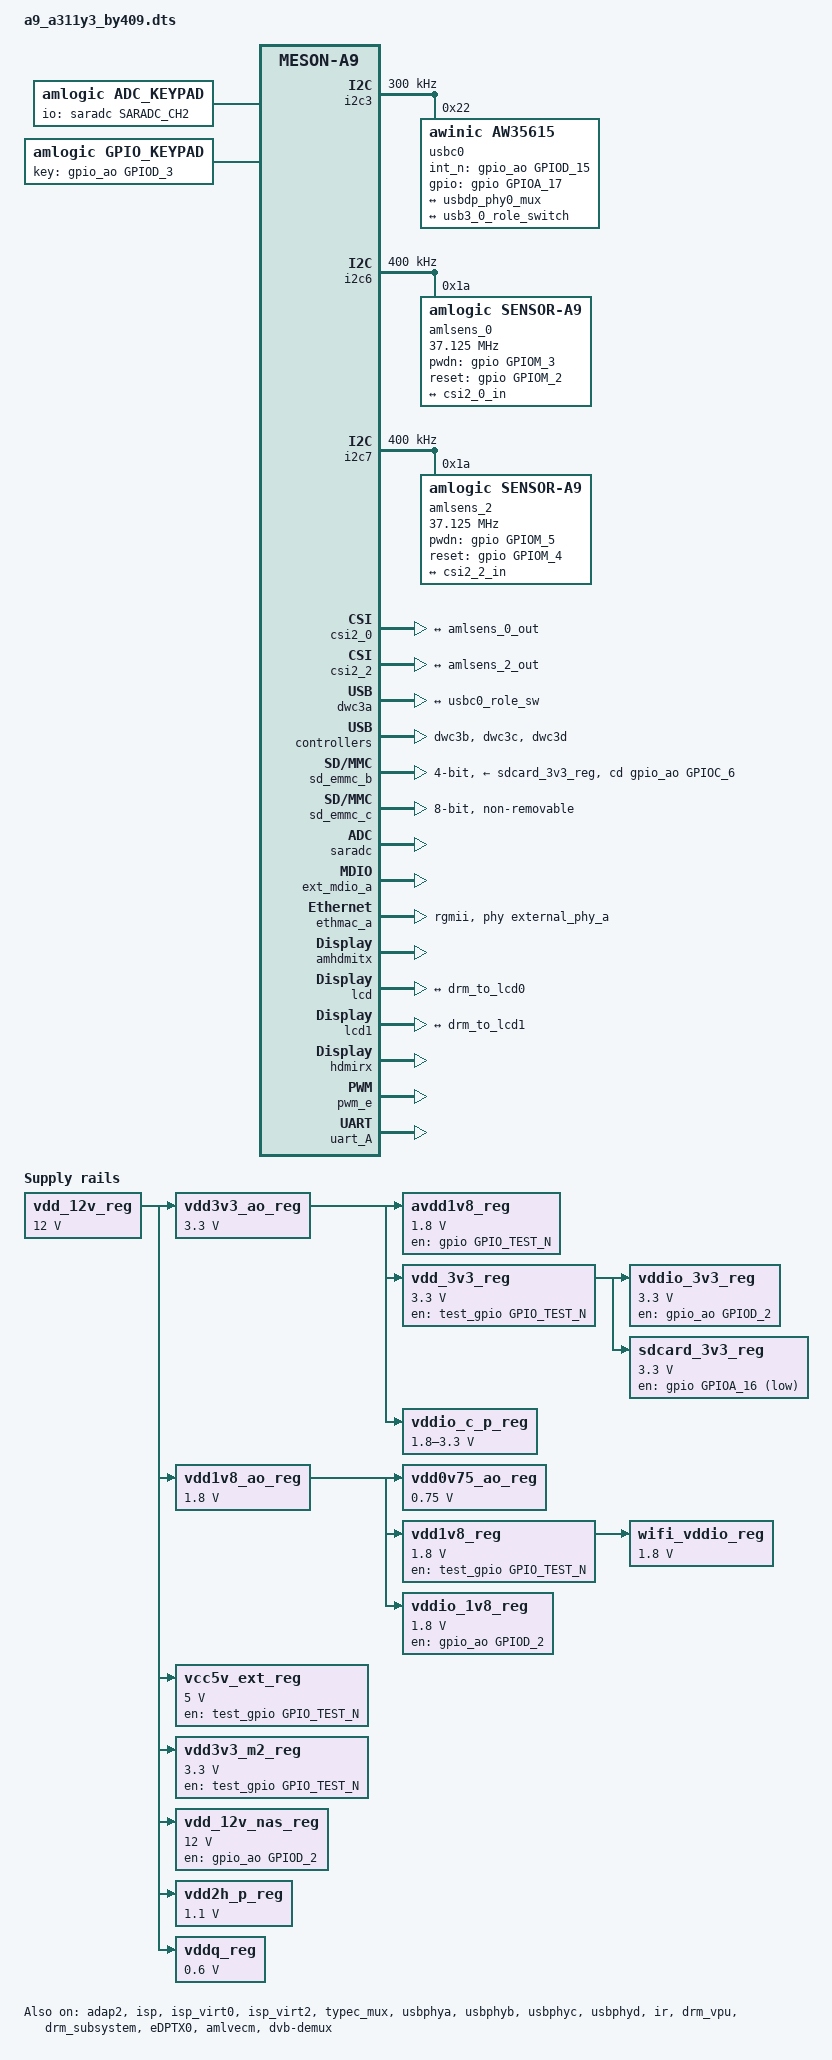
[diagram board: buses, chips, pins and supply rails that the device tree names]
// SPDX-License-Identifier: (GPL-2.0+ OR MIT)
/*
 * Copyright (c) 2019 Amlogic, Inc. All rights reserved.
 */

/dts-v1/;

#include "meson-a9.dtsi"
#include "mesona9-panel.dtsi"
//#include "hdr10plus.dtsi"
#include "mesona9_drm_dual.dtsi"
#include "mesona9_audio.dtsi"
#include "firmware_ab.dtsi"
/ {
	amlogic-dt-id = "a9_a311y3_by409";
	compatible = "a9_a311y3_by409";
	interrupt-parent = <&gic>;
	#address-cells = <2>;
	#size-cells = <2>;

	aliases {
		serial0 = &uart_AO_B;
		serial1 = &uart_A;
		serial2 = &uart_AO_C;
		serial3 = &uart_AO_D;
		serial4 = &uart_AO_E;
		serial5 = &uart_F;
		i2c0 = &i2c0;
		i2c1 = &i2c1;
		i2c2 = &i2c2;
		i2c3 = &i2c3;
		i2c4 = &i2c4;
		i2c5 = &i2c5;
		i2c6 = &i2c6;
		i2c7 = &i2c7;
		i2c8 = &i2c8;
		spi0 = &spifc;
		spi1 = &spisg_c;
		spi2 = &spisg_e;
		spi3 = &spisg_f;
		i3c0 = &i3c0;
		i3c1 = &i3c1;
		tsensor0 = &a55_tsensor;
		tsensor1 = &c_tsensor;
		tsensor2 = &p_tsensor;
		tsensor3 = &dos_tsensor;
		ethernet0 = &ethmac_a;
		ethernet1 = &ethmac_b;
	};

	memory@0 {
		device_type = "memory";
		linux,usable-memory = <0x0 0x000000 0x0 0xe0000000
				       0x1 0x000000 0x1 0x20000000>;
	};

	reserved-memory {
		#address-cells = <2>;
		#size-cells = <2>;
		ranges;

		ramdump_bl33z@0 {
			reg = <0x0 0x0 0x0 0x1800000>; /* 0 ~ 24M */
			status = "disabled";
		};

		/* global autoconfigured region for contiguous allocations */
		ramoops@6b00000 {
			compatible = "ramoops";
			reg = <0x0 0x06b00000 0x0 0x00080000>;/* addr set in uboot */
			record-size = <0x30000>;
			console-size = <0x40000>;
			ftrace-size = <0x0>;
			pmsg-size = <0x10000>;
		};

		debug_reserved:linux,iotrace {
			compatible = "amlogic, iotrace";
			reg = <0x0 0x04f00000 0x0 0x00100000>;
			io-size = <0x1b000>;
			sched-size = <0x2000>;
			irq-size = <0x1000>;
			smc-size = <0x1000>;
			misc-size = <0x1000>;
		};

		dmc_reserved:linux,dmc_monitor {
			compatible = "amlogic,dmc_monitor-reserved";
			reg = <0x0 0x0 0x0 0x80000>;
		};

		secmon_reserved:linux,secmon {
			compatible = "shared-dma-pool";
			/*reusable;*/
			no-map;
			alignment = <0x0 0x100000>;
			reg = <0x0 0x05000000 0x0 0x1b00000>;
		};

		logo_reserved:linux,meson-fb {
			compatible = "amlogic, meson-fb";
			alignment = <0x0 0x400000>;
			reg = <0x0 0x7f800000 0x0 0x800000>;
		};

		lcd_cma_reserved:linux,lcd-reserved {
			compatible = "amlogic, lcd_rsvd";
			reg = <0x0 0x40000000 0x0 0x00a80000>;
			tcon-size = <0x00202840>;
		};

		dsp_fw_reserved:linux,dsp_fw {
			compatible = "amlogic, dsp";
			size = <0x0 0x800000>;
			reg = <0x0 0x30000000 0x0 0x800000>;
		};

		ion_cma_reserved:linux,ion-dev {
			compatible = "shared-dma-pool";
			reusable;
			size = <0x0>;
			alignment = <0x0 0x400000>;
		};
		ion_fb_reserved:linux,ion-fb {
			compatible = "shared-dma-pool";
			reusable;
			size = <0x0 0x0>;
			alignment = <0x0 0x400000>;
		};
		dmaheap_cma_reserved:heap-gfx {
			compatible = "shared-dma-pool";
			reusable;
			/* 1080p STB android16 size 88M */
			size = <0x0 0x0>;
			alignment = <0x0 0x400000>;
		};
		dmaheap_fb_reserved:heap-fb {
			compatible = "shared-dma-pool";
			reusable;
			/* android16 mian 4K secondary 1080p, total size 164M */
			size = <0x0 0xa400000>;
			alignment = <0x0 0x400000>;
		};
		dmaheap_secure_reserved:heap-secure {
			compatible = "amlogic, heap-secure-mem";
			no-map;
			/* advice heap-secure size 208M */
			size = <0x0 0x0>;
			alignment = <0x0 0x400000>;
		};
		mali_protected: mali_protected@c0000000 {
			compatible = "mali-reserved";
			no-map;
			/* 16M with high version than valhall-r41p0,
			 * 64M with low version than valhall-r41p0
			 */
			size = <0x0 0x0>;
			alignment = <0x0 0x400000>;
		};
		/*di CMA pool */
		di_cma_reserved:linux,di_cma {
			compatible = "shared-dma-pool";
			reusable;
			/* buffer_size = 3621952(yuv422 8bit)
			 *  | 4736064(yuv422 10bit)
			 *  | 4074560(yuv422 10bit full pack mode)
			 * 10x3621952=34.6M(0x23) support 8bit
			 * 10x4736064=45.2M(0x2e) support 12bit
			 * 10x4074560=40M(0x28) support 10bit
			 */
			//size = <0x0 0x0B000000>;
			//size = <0x0 0x0>;
			alignment = <0x0 0x400000>;
		};

		/*  POST PROCESS MANAGER */
		ppmgr_reserved:linux,ppmgr {
			compatible = "shared-dma-pool";
			size = <0x0 0x0>;
		};

		codec_mm_cma:linux,codec_mm_cma {
			compatible = "shared-dma-pool";
			reusable;
			/*
			 * Scenario: CTS P010 case
			 * Total size: 548M
			 * Note:
			 *  setting to 496M if scatter_alloc_mode is 0.
			 *  setting to 444M if scatter_alloc_mode is 1.
			 */
			size = <0x0 0x1bc00000>;
			alignment = <0x0 0x400000>;
			alloc-ranges = <0x1 0x0 0x0 0xe0000000>;
			linux,contiguous-region;
		};

		/* codec shared reserved */
		codec_mm_reserved:linux,codec_mm_reserved {
			compatible = "amlogic, codec-mm-reserved";
			size = <0x0 0x0>;
			alignment = <0x0 0x100000>;
			//no-map;
		};

		codec_mm_reserved_ext:linux,codec_mm_reserved_ext {
			compatible = "amlogic, codec-mm-reserved_ext";
			size = <0x00000000 0x00000000>;
			alignment = <0x0 0x100000>;
			alloc-ranges = <0x0 0x0 0x0 0xe0000000>;
		};

		secure_vdec_reserved:linux,secure_vdec_reserved {
			compatible = "amlogic, secure-vdec-reserved";
			no-map;
			size = <0x0 0x1800000>;
			alignment = <0x0 0x100000>;
			alloc-ranges = <0x0 0x0 0x0 0xe0000000>;
		};

		/*  vdin0 CMA pool */
		//vdin0_cma_reserved:linux,vdin0_cma {
		//	compatible = "shared-dma-pool";
		//	reusable;
			/* up to 1920x1080 yuv422 8bit and 5 buffers
			 * 1920x1080x2x5 = 20 M
			 */
		//	size = <0x0 0x01400000>;
		//	alignment = <0x0 0x400000>;
		//};
		/*  vdin1 CMA pool */
		vdin1_cma_reserved:linux,vdin1_cma {
			compatible = "shared-dma-pool";
			reusable;
			/* up to 720p yuv420 8bit and 4 buffers
			 * 1280x720x1.5x4 = 8 M
			 */
			size = <0x0 0x00800000>;
			alignment = <0x0 0x400000>;
		};

		/*  amlvideo2_1 CMA pool */
		amlvideo2_1_cma_reserved:linux,amlvideo2_1_cma {
			compatible = "shared-dma-pool";
			reusable;
			/* 3840x2160 yuv420 8bit and 4 buffers
			 * 3840x2160x1.5x4 = 48 M
			 */
			size = <0x0 0x3000000>;
			alignment = <0x0 0x400000>;
			alloc-ranges = <0x0 0x0 0x0 0xe0000000>;
		};

		/* global autoconfigured region for contiguous allocations */
		linux,cma {
			compatible = "shared-dma-pool";
			reusable;
			size = <0x0 0x800000>;
			alignment = <0x0 0x400000>;
			linux,cma-default;
			alloc-ranges = <0x0 0x0 0x0 0xe0000000>;
		};

		pcie_dma_ops_mm:linux,pcie_dma_ops {
			compatible = "shared-dma-pool";
			status = "okay";
			reusable;
			size = <0x0 0x2000000>;
			swiotlb-size = <0x0 0x1c00000>;
			atomic-size = <0x0 0x40000>;
			alignment = <0x0 0x400000>;
			alloc-ranges = <0x0 0x0 0x0 0xe0000000>;
		};
		isp_reserved:linux,isp {
			compatible = "shared-dma-pool";
			reusable;
			size = <0x0 0xa000000>;
			alignment = <0x0 0x400000>;
			alloc-ranges = <0x0 0x0 0x0 0xe0000000>;
		};
	};

/* Audio Related start */
	auge_sound {
		compatible = "amlogic, auge-sound-card";
		aml-audio-card,name = "AML-AUGESOUND";

	//	avout_mute-gpios = <&gpio GPIOD_6 GPIO_ACTIVE_HIGH>;
	//	av_mute_sleep_time = <600>;
		/* spk_mute-gpios = <&gpio GPIOD_9 GPIO_ACTIVE_LOW>;*/
	//	spk_mute_sleep_time = <800>;

		/* headphone insert det */
	//	hp-det-gpios = <&gpio_analog CDAC_IOUT GPIO_ACTIVE_HIGH>;

	//	interrupts = <GIC_SPI 149 IRQ_TYPE_EDGE_RISING>;
	//	interrupt-names = "audio_exception64";

		aml-audio-card,dai-link@0 {
			format = "dsp_b";
			mclk-fs = <512>;
			//continuous-clock;
			//bitclock-inversion;
			//frame-inversion;
			/* master mode */
			bitclock-master = <&tdma>;
			frame-master = <&tdma>;
			/* slave mode */
			/*
			 * bitclock-master = <&tdmacodec>;
			 * frame-master = <&tdmacodec>;
			 */
			/* suffix-name, sync with android audio hal used for */
			suffix-name = "alsaPORT-pcm";
			tdmacpu: cpu {
				sound-dai = <&tdma>;
				dai-tdm-slot-tx-mask =
							<1 1>;
				dai-tdm-slot-rx-mask =
							<1 1>;
				dai-tdm-slot-num = <2>;
				dai-tdm-slot-width = <16>;
				system-clock-frequency = <256000>;
			};
			tdmacodec: codec {
				sound-dai = <&dummy_codec>;
			};
		};

		aml-audio-card,dai-link@1 {
			format = "i2s";
			mclk-fs = <256>;
			continuous-clock;
			//bitclock-inversion;
			//frame-inversion;
			/* master mode */
			bitclock-master = <&tdmb>;
			frame-master = <&tdmb>;
			/* slave mode */
			//bitclock-master = <&tdmbcodec>;
			//frame-master = <&tdmbcodec>;
			/* suffix-name, sync with android audio hal used for */
			suffix-name = "alsaPORT-i2s-i2s4hdmirx";
			cpu {
				sound-dai = <&tdmb>;
				dai-tdm-slot-tx-mask = <1 1>;
				dai-tdm-slot-rx-mask = <1 1>;
				dai-tdm-slot-num = <2>;
				dai-tdm-slot-width = <32>;
				system-clock-frequency = <12288000>;
			};
			tdmbcodec: codec {
				sound-dai = <&dummy_codec>;
			};
		};

		aml-audio-card,dai-link@2 {
			format = "i2s";
			mclk-fs = <256>;
			//continuous-clock;
			//bitclock-inversion;
			//frame-inversion;
			/* master mode */
			bitclock-master = <&tdmc>;
			frame-master = <&tdmc>;
			/* slave mode */
			//bitclock-master = <&tdmccodec>;
			//frame-master = <&tdmccodec>;
			/* suffix-name, sync with android audio hal used for */
			suffix-name = "alsaPORT-i2s4parser";
			cpu {
				sound-dai = <&tdmc>;
				dai-tdm-slot-tx-mask = <1 1>;
				dai-tdm-slot-rx-mask = <1 1>;
				dai-tdm-slot-num = <2>;
				dai-tdm-slot-width = <32>;
				system-clock-frequency = <12288000>;
			};
			tdmccodec: codec {
				sound-dai = <&dummy_codec>;
			};
		};

		aml-audio-card,dai-link@3 {
			mclk-fs = <64>;
			/* suffix-name, sync with android audio hal used for */
			suffix-name = "alsaPORT-pdm-builtinmic";
			cpu {
				sound-dai = <&pdma>;
			};
			codec {
				sound-dai = <&dummy_codec>;
			};
		};

		aml-audio-card,dai-link@4 {
			mclk-fs = <128>;
			continuous-clock;
			/* suffix-name, sync with android audio hal used for */
			suffix-name = "alsaPORT-spdif";
			cpu {
				sound-dai = <&spdifa>;
				system-clock-frequency = <6144000>;
			};
			codec {
				sound-dai = <&dummy_codec>;
			};
		};

		aml-audio-card,dai-link@5 {
			mclk-fs = <256>;
			continuous-clock;
			suffix-name = "alsaPORT-loopback";
			cpu {
				sound-dai = <&loopbacka>;
				system-clock-frequency = <12288000>;
			};
			codec {
				sound-dai = <&dummy_codec>;
			};
		};

		aml-audio-card,dai-link@6 {
			mclk-fs = <256>;
			continuous-clock;
			suffix-name = "alsaPORT-mixer";
			cpu {
				sound-dai = <&mixer>;
				system-clock-frequency = <12288000>;
			};
			codec {
				sound-dai = <&dummy_codec>;
			};
		};

		aml-audio-card,dai-link@7 {
			mclk-fs = <256>;
			suffix-name = "alsaPORT-Sed";
			cpu {
				sound-dai = <&sed>;
			};
			codec {
				sound-dai = <&dummy_codec>;
			};
		};
	};
	/* Audio Related end */

	dvb-extern {
		compatible = "amlogic, dvb-extern";
		dev_name = "dvb-extern";
		status = "disabled";

		/* dvb hardware main power. */
		dvb_power_gpio = <&gpio GPIOZ_5 GPIO_ACTIVE_HIGH>;
		dvb_power_value = <1>;
		dvb_power_dir = <0>; /* 0: out, 1: in. */

		fe_num = <4>; /* internal 2 * dvb-c, extern 1 * dvb-s */
		fe0_demod = "internal";
		fe0_tuner0 = <0>; /* use tuner0 */

		fe1_demod = "internal";
		fe1_tuner0 = <1>; /* use tuner1 */

		fe2_demod = "cxd2856";
		fe2_i2c_adap_id = <&i2c4>;
		fe2_demod_i2c_addr = <0xD8>;
		fe2_reset_value = <0>;
		fe2_reset_gpio = <&gpio GPIOZ_4 GPIO_ACTIVE_HIGH>;
		fe2_reset_dir = <0>; /* 0: out, 1: in. */
		fe2_ant_poweron_value = <0>;
		//fe2_ant_power_gpio = <&gpio GPIOH_9 GPIO_ACTIVE_HIGH>;
		fe2_ts = <0>;
		fe2_tuner1 = <3>; /* use tuner3, only S. */

		fe3_demod = "dummy";
		fe3_ts = <3>;

		tuner_num = <4>; /* tuner number, multi tuner support */
		tuner0_name = "r836_tuner";
		tuner0_i2c_adap = <&i2c3>;
		tuner0_i2c_addr = <0x1a>; /* 7bit */
		tuner0_xtal = <0>; /* 0: 16MHz, 1: 24MHz */
		tuner0_xtal_mode = <0>;
					/* NO_SHARE_XTAL(0)
					 * SLAVE_XTAL_SHARE(3)
					 */
		tuner0_xtal_cap = <16>;
		tuner0_lt_out = <1>;

		tuner1_name = "r836_tuner";
		tuner1_i2c_adap = <&i2c3>;
		tuner1_i2c_addr = <0x3a>; /* 7bit */
		tuner1_xtal = <0>; /* 0: 16MHz, 1: 24MHz */
		tuner1_xtal_mode = <0>;
					/* NO_SHARE_XTAL(0)
					 * SLAVE_XTAL_SHARE(3)
					 */
		tuner1_xtal_cap = <16>;
		tuner1_lt_out = <1>;

		tuner2_name = "av2018_tuner";
		tuner2_i2c_adap = <&i2c3>;
		tuner2_i2c_addr = <0xC4>; /* 8bit */
		tuner2_lt_out = <1>;

		tuner3_name = "av2018_tuner";
		tuner3_lt_out = <1>;
	};

	dvb-demux {
		compatible = "amlogic sc2, dvb-demux";
		dev_name = "dvb-demux";
		status = "okay";

		reg = <0x0 0xfe000000 0x0 0x480000>;

		dmxdev_num = <0x11>;

		tsn_from = "demod";

		/*single demod setting */
		ts0_sid = <0x10>;
		ts0 = "serial-4wire"; /* tsinA: serial-4wire, serial-3wire */
		ts0_control = <0x0>;
		ts0_invert = <0>;

		ts1_sid = <0x11>;
		ts1 = "parallel";
		ts1_control = <0x0>;
		ts1_invert = <0>;

		ts2_sid = <0x12>;
		ts2 = "parallel";
		ts2_control = <0x0>;
		ts2_invert = <0>;

		ts3_sid = <0x7>;

	};

	multi-di {
		compatible = "amlogic, dim-a9";
		/* s6 same as s7d */
		status = "okay";
		/* 0:use reserved; 1:use cma; 2:use cma as reserved */
		flag_cma = <4>;	//<1>;
		//memory-region = <&di_reserved>;
		//memory-region = <&di_cma_reserved>;
		interrupts = <0 203 1
				0 202 1>;
		interrupt-names = "pre_irq", "post_irq";
		clocks = <&clkc_vpu_clkb CLKID_VPU_CLKB>,
			 <&clkc_vpu>;
		clock-names = "vpu_clkb",
			"vpu_mux";
		clock-range = <334 400>;
		/* buffer-size = <3621952>;(yuv422 8bit) */
		buffer-size = <4074560>;/*yuv422 fullpack*/
		/* reserve-iomap = "true"; */
		/* if enable nr10bit, set nr10bit-support to 1 */
		post-wr-support = <1>;
		nr10bit-support = <1>;
		nrds-enable = <1>;
		pps-enable = <1>;
		en_4k = <0>;
		keep_dec_vf = <0>;
		po_fmt = <0>;
		post_nub = <11>;
		alloc_sct = <0>;
		hf = <0>;
		dct = <0>;
		sub_v = <0>;//sub version
		afbce_loss_en = <0>;//t5w loss mode enable for DI output
		prelink_en = <1>;
		ponly_mode = <1>;
		t5db_afbcd_en = <1>;
		postlink_en = <0>;
		/***************************************************
		 * t5w t3 support 4k ,same with t7 ,no canvas,
		 * post_nub---default is 11
		 *            (T7/T3/SC2/S4 new path)
		 *            post 11*5222400 = 56M,local 7*4075520 = 28m
		 * flag_cma---0: use reserved; 1:use cma;
		 *            2:use cma as reserved 4:use codec mem
		 * en_4k :en_4k---0: not support 4K;  1: enable 4K
		 *                2: dynamic: vdin: 4k enable,
		 *                   other source 4k disable
		 *                8: when 4k,
		 *                   output with a resolution is below 1080p
		 * keep_dec_vf---0:not keep; 1: keep dec vf for p;
		 *               2: dynamic keep dec vf for p,other is disable
		 * po_fmt---1: NV21/8;  2: nv12/8;  3: AFBC 422/10BIT;
		 *          4: dynamic(4K AFBC,10/422);
		 *          6: dynamic(from decoder 4K source,
		 *             out is AFBC,10/420),
		 *             other is 422/10BIT
		 * bypass_mem---0:nr not bypass; 1: nr bypass;
		 *              2: when 4k input ,nr is bypass;
		 *              3: bypass nr for 4k,but not from vdin;
		 * alloc_sct---0:not support; bit 0: for 4k; bit 1: for 1080p
		 * hf---0:not enable; 1: enable
		 * dct---0:not enable; 1: enable 1 ch; 2: enable 2 ch
		 * sub_v---0:major; 1: sub
		 * afbce_loss_en---1:check the loss flag in vf and set for di,0:disable
		 ***************************************************/
	};

	aml_dtv_demod {
		compatible = "amlogic, ddemod-s4";
		dev_name = "aml_dtv_demod";
		status = "disabled";
		/* diseqc_name = "sgm_41286"; */
		pinctrl-names="if_agc_pins", "if_agc2_pins";
		pinctrl-0=<&dtvdemod_if_agc_pins>;
		pinctrl-1=<&dtvdemod_if_agc2_pins>;
		/* pinctrl-2=<&diseqc_out>; */
		/* lnb_en-gpios = <&gpio GPIOZ_2 GPIO_ACTIVE_HIGH>; */
		/* lnb_sel-gpios = <&gpio GPIOZ_3 GPIO_ACTIVE_HIGH>; */
		/* interrupts = <GIC_SPI 142 IRQ_TYPE_EDGE_RISING>; */
		/* interrupt-names = "demod_isr"; */

		//power-domains = <&pwrdm PDID_S4_DEMOD>;
		/* clocks = <&clkc CLKID_DAC_CLK>; */
		/* clock-names = "vdac_clk_gate"; */

		reg = <0x0 0xfe350000 0x0 0x10000	/* dtv demod base */
			   0x0 0xfe000000 0x0 0x2000	/* div base */
			   0x0 0xff800000 0x0 0x1000	/* io_aobus_base */
			   0x0 0xffd01000 0x0 0x1000	/* reset */
			>;

		spectrum = <1>;
		cma_mem_size = <0>; //MB
	};

	adc_keypad {
		compatible = "amlogic, adc_keypad";
		status = "okay";
		key_name = "update", "vol-", "vol+", "ok";
		key_num = <4>;
		io-channels = <&saradc SARADC_CH2>;
		io-channel-names = "key-chan-2";
		key_chan = <SARADC_CH2 SARADC_CH2 SARADC_CH2 SARADC_CH2>;
		key_code = <KEY_SETUP KEY_VOLUMEDOWN KEY_VOLUMEUP KEY_ENTER>;
		key_val = <0 252 468 684>;	// Unit: millivolt
		key_tolerance = <70 70 70 70>;	// Unit: millivolt
	};

	gpio_keypad {
		compatible = "amlogic, gpio_keypad";
		status = "okay";
		scan_period = <20>;
		key_num = <1>;
		key_name = "power";
		key_code = <KEY_POWER>;
		key_type = <EV_KEY>;
		key-gpios = <&gpio_ao GPIOD_3 GPIO_ACTIVE_HIGH>;
		/* 0:polling mode, 1:irq mode */
		detect_mode = <0>;
	};

	vdd_12v_reg: fixed@vdd_12v_reg {
		compatible = "regulator-fixed";
		regulator-name = "VDD_12V";
		regulator-min-microvolt = <12000000>;
		regulator-max-microvolt = <12000000>;
		regulator-boot-on;
		regulator-always-on;
	};

	vdd3v3_ao_reg: fixed@vdd3v3_ao_reg {
		vin-supply = <&vdd_12v_reg>;
		compatible = "regulator-fixed";
		regulator-name = "VDDAO_3V3";
		regulator-min-microvolt = <3300000>;
		regulator-max-microvolt = <3300000>;
		regulator-boot-on;
		regulator-always-on;
	};

	vdd1v8_ao_reg: fixed@vdd1v8_ao_reg {
		vin-supply = <&vdd_12v_reg>;
		compatible = "regulator-fixed";
		regulator-name = "VDD1V8_AO";
		regulator-min-microvolt = <1800000>;
		regulator-max-microvolt = <1800000>;
		regulator-boot-on;
		regulator-always-on;
	};

	vdd0v75_ao_reg: fixed@vdd0v75_ao_reg {
		vin-supply = <&vdd1v8_ao_reg>;
		compatible = "regulator-fixed";
		regulator-name = "VDD0V75_AO";
		regulator-min-microvolt = <750000>;
		regulator-max-microvolt = <750000>;
		regulator-boot-on;
		regulator-always-on;
	};

	vddgpu: pwm_g-regulator {
		compatible = "amlogic, pwm-regulator";
		//pwms = <&pwm_g MESON_PWM_0 630 0>;		//default pwm_e, pwm_g nc
		pwms = <&pwm_g MESON_PWM_0 630 0>;
		regulator-name = "vddgpu";
		regulator-min-microvolt = <680000>;
		regulator-max-microvolt = <830000>;
		regulator-always-on;
		max-duty-cycle = <630>;
		amlogic,vsel-step = <3>;
		amlogic,usleep-time = <200>;
		amlogic,udelay-time = <40 20>;
		/* Voltage Duty-Cycle */
		voltage-table = <830000 0>,
				<820000 7>,
				<810000 13>,
				<800000 20>,
				<790000 27>,
				<780000 33>,
				<770000 40>,
				<760000 47>,
				<750000 53>,
				<740000 60>,
				<730000 67>,
				<720000 73>,
				<710000 80>,
				<700000 87>,
				<690000 93>,
				<680000 100>;
		status = "disabled";
	};

	avdd1v8_reg: fixed@avdd1v8_reg {
		vin-supply = <&vdd3v3_ao_reg>;
		compatible = "regulator-fixed";
		regulator-name = "AVDD1V8";
		regulator-min-microvolt = <1800000>;
		regulator-max-microvolt = <1800000>;
		pinctrl-names = "default";
		gpio = <&gpio GPIO_TEST_N GPIO_ACTIVE_HIGH>;
		enable-active-high;
		startup-delay-us = <7000>;
		regulator-boot-on;
		regulator-always-on;
	};

	vcc5v_ext_reg: fixed@vcc5v_ext_reg {
		vin-supply = <&vdd_12v_reg>;
		compatible = "regulator-fixed";
		regulator-name = "VCC5V_EXT";
		regulator-min-microvolt = <5000000>;
		regulator-max-microvolt = <5000000>;
		pinctrl-names = "default";
		gpio = <&test_gpio GPIO_TEST_N GPIO_ACTIVE_HIGH>;
		enable-active-high;
		startup-delay-us = <7000>;
		regulator-boot-on;
		regulator-always-on;
	};

	vdd_3v3_reg: fixed@vdd_3v3_reg {
		vin-supply = <&vdd3v3_ao_reg>;
		compatible = "regulator-fixed";
		regulator-name = "VDD_3V3";
		regulator-min-microvolt = <3300000>;
		regulator-max-microvolt = <3300000>;
		pinctrl-names = "default";
		gpio = <&test_gpio GPIO_TEST_N GPIO_ACTIVE_HIGH>;
		enable-active-high;
		startup-delay-us = <7000>;
		regulator-boot-on;
		regulator-always-on;
	};

	vdd1v8_reg: fixed@vdd1v8_reg {
		vin-supply = <&vdd1v8_ao_reg>;
		compatible = "regulator-fixed";
		regulator-name = "VDD1V8";
		regulator-min-microvolt = <1800000>;
		regulator-max-microvolt = <1800000>;
		pinctrl-names = "default";
		gpio = <&test_gpio GPIO_TEST_N GPIO_ACTIVE_HIGH>;
		enable-active-high;
		startup-delay-us = <7000>;
		regulator-boot-on;
		regulator-always-on;
	};

	vddio_3v3_reg: fixed@vddio_3v3_reg {
		vin-supply = <&vdd_3v3_reg>;
		compatible = "regulator-fixed";
		regulator-name = "VDDIO_3V3";
		regulator-min-microvolt = <3300000>;
		regulator-max-microvolt = <3300000>;
		pinctrl-names = "default";
		gpio = <&gpio_ao GPIOD_2 GPIO_ACTIVE_HIGH>;
		enable-active-high;
		startup-delay-us = <7000>;
		regulator-boot-on;
		regulator-always-on;
	};

	vddio_1v8_reg: fixed@vddio_1v8_reg {
		vin-supply = <&vdd1v8_ao_reg>;
		compatible = "regulator-fixed";
		regulator-name = "VDDIO_1V8";
		regulator-min-microvolt = <1800000>;
		regulator-max-microvolt = <1800000>;
		pinctrl-names = "default";
		gpio = <&gpio_ao GPIOD_2 GPIO_ACTIVE_HIGH>;
		enable-active-high;
		startup-delay-us = <7000>;
		regulator-boot-on;
		regulator-always-on;
	};

	vdd3v3_m2_reg: fixed@vdd3v3_m2_reg {
		vin-supply = <&vdd_12v_reg>;
		compatible = "regulator-fixed";
		regulator-name = "VDD3V3_M2";
		regulator-min-microvolt = <3300000>;
		regulator-max-microvolt = <3300000>;
		pinctrl-names = "default";
		gpio = <&test_gpio GPIO_TEST_N GPIO_ACTIVE_HIGH>;
		enable-active-high;
		startup-delay-us = <7000>;
		regulator-boot-on;
		regulator-always-on;
	};

	vdd_12v_nas_reg: fixed@vdd_12v_nas_reg {
		vin-supply = <&vdd_12v_reg>;
		compatible = "regulator-fixed";
		regulator-name = "VDD_12V_NAS";
		regulator-min-microvolt = <12000000>;
		regulator-max-microvolt = <12000000>;
		gpio = <&gpio_ao GPIOD_2 GPIO_ACTIVE_HIGH>;
		enable-active-high;
		startup-delay-us = <7000>;
		regulator-boot-on;
		regulator-always-on;
	};

	sdcard_3v3_reg: sdcard_3v3_reg {
		compatible = "regulator-fixed";
		regulator-name = "SDCARD_3V3";
		vin-supply = <&vdd_3v3_reg>;
		regulator-min-microvolt = <3300000>;
		regulator-max-microvolt = <3300000>;
		gpio = <&gpio GPIOA_16 GPIO_ACTIVE_HIGH>;	//Default DWN
		enable-active-low;
		startup-delay-us = <7000>;
		regulator-boot-on;
	};

	vddio_c_p_reg: vddio_c_p_reg {
		compatible = "regulator-gpio";
		vin-supply = <&vdd3v3_ao_reg>;
		regulator-name = "VDDIO_C_P";
		regulator-min-microvolt = <1800000>;
		regulator-max-microvolt = <3300000>;
		gpio = <&gpio_ao GPIOD_12 GPIO_ACTIVE_HIGH>;	//L=3.3V H=1.8V Default L
		gpios-states = <0>;
		states = <1800000 1 3300000 0>;
		startup-delay-us = <7000>;
		regulator-boot-on;
	};

	vdd2h_p_reg: fixed@vdd2h_p_reg {
		vin-supply = <&vdd_12v_reg>;
		compatible = "regulator-fixed";
		regulator-name = "VDD2H_P";
		regulator-min-microvolt = <1100000>;
		regulator-max-microvolt = <1100000>;
		regulator-boot-on;
		regulator-always-on;
	};

	vddq_reg: fixed@vddq_reg {
		vin-supply = <&vdd_12v_reg>;
		compatible = "regulator-fixed";
		regulator-name = "VDDQ";
		regulator-min-microvolt = <600000>;
		regulator-max-microvolt = <600000>;
		regulator-boot-on;
		regulator-always-on;
	};

	wifi_vddio_reg: fixed@wifi_vddio_reg {
		vin-supply = <&vdd1v8_reg>;
		compatible = "regulator-fixed";
		regulator-name = "WIFI_VDDIO";
		regulator-min-microvolt = <1800000>;
		regulator-max-microvolt = <1800000>;
		regulator-boot-on;
		regulator-always-on;
	};
};

&i2c3 {
	status = "okay";
	pinctrl-names="default";
	pinctrl-0=<&i2c3_pins4>;
	clock-frequency = <300000>;
	usbc0: aw35615@22 {
		compatible = "awinic,aw35615";
		reg = <0x22>;
		awinic,int_n = <&gpio_ao GPIOD_15 GPIO_ACTIVE_HIGH>;
		gpios = <&gpio GPIOA_17 GPIO_ACTIVE_HIGH>;
		aw35615,port_id = <0>;
		aw35615,vbus_name = "otg-vbus"; /*otg vbus regulator name*/
		aw35615,snk_pdo_size = <1>; /* set sink pdo num*/
		aw35615,snk_pdo_vol = <5000>; /* set sink pdo voltage mV*/
		aw35615,snk_pdo_cur = <2000>; /* set sink pdo current mA*/
		aw35615,snk_pps_size = <0>; /* set sink pps num*/
		aw35615,snk_pps_vol = <0>; /* set sink pps voltage mV*/
		aw35615,snk_pps_cur = <0>; /* set sink pps current mA*/
		aw35615,src_pdo_size = <1>; /* set source pdo num*/
		aw35615,src_pdo_vol = <5000>; /* set source pdo voltage mV*/
		aw35615,src_pdo_cur = <1000>; /* set source pdo current mA*/
		aw35615,src_pps_size = <0>; /* set sink pps num*/
		aw35615,src_pps_vol = <0>; /* set sink pps voltage mV*/
		aw35615,src_pps_cur = <0>; /* set sink pps current mA*/
		aw35615,snk_tog_time = <0x36>; /* set toggle sink time */
		aw35615,src_tog_time = <0x36>; /* set toggle source time */
		aw35615,cc1_ov_th = <0x7>; /* set cc1 ov threshold */
		aw35615,cc2_ov_th = <0x7>; /* set cc2 ov threshold */
		aw35615,lpd_tim_set = <0x4>; /* set the LPD sensitivity */
		status = "okay";

		usb_con: connector {
			compatible = "usb-c-connector";
			label = "USB-C";
			ports {
				#address-cells = <1>;
				#size-cells = <0>;
				data-role = "dual";
				power-role = "dual";
				try-power-role = "sink";

				port@0 {
					reg = <0>;
					usbc0_mux: endpoint {
						remote-endpoint = <&usbdp_phy0_mux>;
					};
				};

				port@1 {
					reg = <1>;

					usbc0_role_sw: endpoint {
						remote-endpoint = <&usb3_0_role_switch>;
					};
				};
			};
		};
	};
};

&i2c4 {
	status = "disabled";
	pinctrl-names="default";
	pinctrl-0=<&i2c4_pins3>;
	clock-frequency = <300000>;
};

&i2c5 {
	status = "disabled";
	pinctrl-names="default";
	pinctrl-0=<&i2c5_pins3>;
	clock-frequency = <100000>;
};

&i2c0 {
	status = "disabled";
	pinctrl-names="default";
	pinctrl-0=<&i2c0_pins4>;
	clock-frequency = <300000>; /* default 100k */
	sy602x_54: sy602x_54@2a {
		compatible = "silergy,sy602x";
		#sound-dai-cells = <0>;
		reg = <0x2a>;
		status = "disabled";
		reset_pin-gpios = <&gpio GPIOD_5 GPIO_ACTIVE_HIGH>;
	};
	aw9523: aw9523_led@5b {
		compatible = "amlogic,aw9523b_led";
		reg = <0x5b>;
		status = "disabled";
		//reset-gpio = <&gpio GPIOD_10 GPIO_ACTIVE_HIGH>;
		platform = <10>;

		led1 {
			default_colors = <0 0 0>;
			r_io_number = <2>;
			g_io_number = <12>;
			b_io_number = <7>;
		};

		led2 {
			default_colors = <0 0 0>;
			r_io_number = <4>;
			g_io_number = <10>;
			b_io_number = <9>;
		};

		led3 {
			default_colors = <0 0 0>;
			r_io_number = <3>;
			g_io_number = <11>;
			b_io_number = <8>;
		};

		led4 {
			default_colors = <0 0 0>;
			r_io_number = <0>;
			g_io_number = <14>;
			b_io_number = <5>;
		};
		led9 {
			default_colors = <0 0 0>;
			r_io_number = <1>;
			g_io_number = <13>;
			b_io_number = <6>;
		};
	};
};

&i2c6 {
	status = "okay";
	pinctrl-0=<&i2c6_pins2>;
	pinctrl-names="default";
	clock-frequency = <400000>;

	amlsens_0: sensor0@1a {
		compatible = "amlogic, sensor-a9", "sony,imx290", "sony,imx415",
				"ov,ov5640", "max,max96712",
				"ovti,ov13855", "ovti,ov51a40";
		reg = <0x1a>;
		clock-frequency = <37125000>;
		index = <0>;
		status = "okay";

		clocks = <&mclk_pll>,
				<&clkc_mclk CLKID_MCLK_0_PRE>,
				<&clkc_mclk CLKID_MCLK_0>;
		clock-names = "mclk_pll", "mclk_pre", "xclk";
		assigned-clocks = <&clkc_mclk CLKID_MCLK_0>;
		assigned-clock-rates = <24000000>;

		pwdn-gpios = <&gpio GPIOM_3 GPIO_ACTIVE_HIGH>;
		reset-gpios = <&gpio GPIOM_2 GPIO_ACTIVE_HIGH>;

		port {
			amlsens_0_out: endpoint {
				data-lanes = <2 3 4 5>;
				link-frequencies = /bits/ 64 <222750000 148500000>;
				remote-endpoint = <&csi2_0_in>;
			};
		};
	};
};

&i2c7 {
	status = "okay";
	pinctrl-0=<&i2c7_pins2>;
	pinctrl-names="default";
	clock-frequency = <400000>;

	amlsens_2: sensor2@1a {
		compatible = "amlogic, sensor-a9", "sony,imx290", "sony,imx415",
				"ov,ov5640", "max,max96712",
				"ovti,ov13855", "ovti,ov51a40";
		reg = <0x1a>;
		clock-frequency = <37125000>;
		index = <2>;
		status = "okay";

		clocks =  <&mclk1_pll>,
				<&clkc_mclk1 CLKID_MCLK1_0_PRE>,
				<&clkc_mclk1 CLKID_MCLK1_0>;
		clock-names = "mclk_pll", "mclk_pre", "xclk";
		assigned-clocks = <&clkc_mclk1 CLKID_MCLK1_0>;
		assigned-clock-rates = <24000000>;

		pwdn-gpios = <&gpio GPIOM_5 GPIO_ACTIVE_HIGH>;
		reset-gpios = <&gpio GPIOM_4 GPIO_ACTIVE_HIGH>;

		port {
			amlsens_2_out: endpoint {
				data-lanes = <2 3 4 5>;
				link-frequencies = /bits/ 64 <222750000 148500000>;
				remote-endpoint = <&csi2_2_in>;
			};
		};
	};
};

&csi2_0 {
	status = "okay";

	ports {
		port@0 {
			csi2_0_in: endpoint {
				remote-endpoint = <&amlsens_0_out>;
				clock-lanes = <0>;
				data-lanes = <2 3 4 5>;
			};
		};
	};
};

&csi2_2 {
	status = "okay";

	ports {
		port@0 {
			csi2_2_in: endpoint {
				remote-endpoint = <&amlsens_2_out>;
				clock-lanes = <0>;
				data-lanes = <2 3 4 5>;
			};
		};
	};
};

&adap2 {
	memory-region = <&isp_reserved>;
	status = "okay";
};

&isp {
	status = "okay";
};

&isp_virt0 {
	memory-region = <&isp_reserved>;
	status = "okay";
};

&isp_virt2 {
	memory-region = <&isp_reserved>;
	status = "okay";
};

//&tdma {
//	pinctrl-names = "tdm_pins";
//	pinctrl-0 = <&bt_pcm_gpio_x_pins
//		&tdm_d1_pins
//		&tdm_d0_pins
//		&tdma_clk_pins>;
//};

//&tdmc {
//	pinctrl-names = "tdm_pins";
//	pinctrl-0 = <&i2s_gpio_d_pins_1
//		&tdm_d3_pins
//		&tdmc_clk_pins>;
//};

//&spdifa {
//		pinctrl-names = "spdif_pins", "spdif_pins_mute";
//		pinctrl-0 = <&spdif_out_a_h4_pins>;
//		pinctrl-1 = <&spdif_out_a_h4_mute_pins>;
//};

&periphs_pinctrl {
	dvb_s_ts0_pins: dvb_s_ts0_pins {
		tsin_a {
			groups = "tsin_a_sop",
				"tsin_a_valid",
				"tsin_a_clk",
				"tsin_a_din0";
			function = "tsin_a";
		};
	};
}; /* end of periphs_pinctrl */

&typec_mux {
	status = "okay";
	port {
		#address-cells = <1>;
		#size-cells = <0>;

		usbdp_phy0_mux: endpoint@0 {
			reg = <0>;
			remote-endpoint = <&usbc0_mux>;
		};
	};
};

&usbphya {
	status = "okay";
};

&usbphyb {
	status = "okay";
	u2p@fe4cc000 {
		gpio-vbus-power = "GPIOA_18";
		gpios = <&gpio GPIOA_18 GPIO_ACTIVE_HIGH>;
	};
};

&usbphyc {
	status = "okay";
	u2p@fe4ac000 {
		gpio-vbus-power = "GPIOD_17";
		gpios = <&gpio_ao GPIOD_17 (GPIO_ACTIVE_HIGH | GPIO_OPEN_DRAIN)>;
	};
};

&usbphyd {
	status = "okay";
	u2p@fe4a4000 {
		gpio-vbus-power = "GPIOA_19";
		gpios = <&gpio GPIOA_19 GPIO_ACTIVE_HIGH>;
	};
};

&dwc3a {
	typec-usb-controller;
	status = "okay";
	port {
		#address-cells = <1>;
		#size-cells = <0>;
		usb3_0_role_switch: endpoint@0 {
			reg = <0>;
			remote-endpoint = <&usbc0_role_sw>;
		};
	};
};

&dwc3b {
	status = "okay";
};

&dwc3c {
	status = "okay";
};

&dwc3d {
	status = "okay";
};

&pcie_a {
	reset-gpio = <&gpio GPIOA_8 GPIO_ACTIVE_HIGH>;
	max-link-speed=<3>;
	num-lanes = <1>;
	/* iommu-map = <0x100 &smmu 0x5 0x10>; */
	status = "disabled";
};

&pcie_b {
	/* reset-gpio = <&gpio GPIOA_9 GPIO_ACTIVE_HIGH>; */
	reset-gpio = <&gpio GPIOZ_15 GPIO_ACTIVE_HIGH>; // combphy
	max-link-speed=<3>;
	/* iommu-map = <0x100 &smmu 0x5 0x10>; */
	status = "disabled";
};

/* SDIO */
&sd_emmc_a {
	status = "disabled";
	pinctrl-0 = <&sdio_pins>;
	pinctrl-1 = <&sdio_clk_gate_pins>;
	pinctrl-names = "default", "clk-gate";
	#address-cells = <1>;
	#size-cells = <0>;

	bus-width = <4>;
	cap-sd-highspeed;
	sd-uhs-sdr50;
	sd-uhs-sdr104;
	max-frequency = <200000000>;

	non-removable;
	disable-wp;

	//vmmc-supply = <&vddao_3v3>;
	//vqmmc-supply = <&vddio_ao1v8>;

	brcmf: wifi@1 {
		reg = <1>;
		compatible = "brcm,bcm4329-fmac";
	};
};

/* SD card */
&sd_emmc_b {
	status = "okay";
	pinctrl-0 = <&sdcard_pins>;
	pinctrl-1 = <&sdcard_clk_gate_pins>;
	pinctrl-2 = <&sd_1bit_pins>;
	//pinctrl-3 = <&sd_to_ao_uart_clr_pins
	//	&sdcard_pins &ao_to_sd_uart_pins>;
	//pinctrl-4 = <&sd_to_ao_uart_clr_pins
	//	&sd_1bit_pins &ao_to_sd_uart_pins>;
	//pinctrl-5 = <&sdcard_pins &ao_uart_pins>;
	//pinctrl-6 = <&sd_to_ao_uart_clr_pins
	//	&ao_to_sd_uart_pins>;
	//pinctrl-7 = <&sdcard_pins &ao_uart_pins>;
	//pinctrl-8 = <&sd_to_ao_uart_clr_pins
	//	&ao_to_sd_uart_pins>;
	pinctrl-names = "sd_default",
			"clk-gate",
			"sd_1bit_pins";
	//		"sd_clk_cmd_uart_pins",
	//		"sd_1bit_uart_pins",
	//		"sd_to_ao_uart_pins",
	//		"ao_to_sd_uart_pins",
	//		"sd_to_ao_jtag_pins",
	//		"ao_to_sd_jtag_pins";
	bus-width = <4>;
	cap-sd-highspeed;
	sd-uhs-sdr12;
	sd-uhs-sdr25;
	sd-uhs-sdr50;
	sd-uhs-sdr104;
	max-frequency = <200000000>;
	disable-wp;

	cd-gpios = <&gpio_ao GPIOC_6 GPIO_ACTIVE_HIGH>;
	//dat1-gpios = <&gpio GPIOC_1 GPIO_ACTIVE_HIGH>;
	vmmc-supply = <&sdcard_3v3_reg>;
	vqmmc-supply = <&vddio_c_p_reg>;
};

&sd_emmc_c {
	status = "okay";
	pinctrl-0 = <&emmc_pins>, <&emmc_ds_pins>;
	pinctrl-1 = <&emmc_clk_gate_pins>;
	pinctrl-names = "default", "clk-gate";

	bus-width = <8>;
	cap-mmc-highspeed;
	mmc-ddr-1_8v;
	mmc-hs200-1_8v;
	mmc-hs400-1_8v;
	max-frequency = <200000000>;
	non-removable;
	disable-wp;

//	mmc-pwrseq = <&emmc_pwrseq>;
//	vmmc-supply = <&vddao_3v3>;
//	vqmmc-supply = <&vddao_1v8>;
};

&mtd_nand {
	status = "disabled";
	#address-cells = <1>;
	#size-cells = <0>;

	pinctrl-names = "nand_norb_mod","nand_cs_only";
	pinctrl-0 = <&all_nand_pins>;
	pinctrl-1 = <&nand_cs_pins>;
	bl_mode = <1>;
	fip_copies = <4>;
	fip_size = <0x200000>;
	ship_bad_block = <1>;
	disa_irq_flag = <1>;
	nand@bootloader {
		reg = <0>;
		#address-cells = <1>;
		#size-cells = <1>;
		nand-ecc-maximize;
		partition@0 {
			label = "bootloader";
			reg = <0x0 0x00000000>;
		};
	};
	nand@normal {
		reg = <0>;
		#address-cells = <1>;
		#size-cells = <1>;
		nand-ecc-maximize;

		partition@0 {
			label = "bl2e";
			reg = <0x0 0x00000000>;
		};
		partition@1 {
			label = "bl2x";
			reg = <0x0 0x00000000>;
		};
		partition@2 {
			label = "ddrfip";
			reg = <0x0 0x00000000>;
		};
		partition@3 {
			label = "tpl";
			reg = <0x0 0x00000000>;
		};
		partition@4 {
			/* Do not modify before the factory partition */
			label = "factory";
			reg = <0x0 0x0800000>;
		};
		partition@5 {
			label = "tee";
			reg = <0x0 0x800000>;
		};
		partition@6 {
			label = "logo";
			reg = <0x0 0x200000>;
		};
		partition@7 {
			label = "misc";
			reg = <0x0 0x800000>;
		};
		partition@8 {
			label = "recovery";
			reg = <0x0 0x2000000>;
		};
		partition@9 {
			label = "boot";
			reg = <0x0 0x2200000>;
		};
		partition@10 {
			label = "system";
			reg = <0x0 0xE000000>;
		};
		partition@11 {
			label = "vendor";
			reg = <0x0 0x1000000>;
		};
		partition@12 {
			label = "vbmeta";
			reg = <0x0 0x0100000>;
		};
		partition@13 {
			label = "data";
			reg = <0x0 0xffffffff>;
		};
	};
};

&chosen {
	bootargs = "usbcore.autosuspend=-1 arm64.nomte";
};

&saradc {
	status = "okay";
};

/* MAC_A 1G exphy setting */
&ext_mdio_a {
	status = "okay";
};

&ethmac_a {
	pinctrl-0 = <&eth_a_pins>, <&eth_a_rgmii_pins>;
	pinctrl-names = "default";
	status = "okay";
	phy-mode = "rgmii";
	phy-handle = <&external_phy_a>;
	phy-mii-clk-sel = <0x3>;
	amlogic,tx-delay-ns = <2>;
	cali_val = <0x290000>;
	// wol = <1>;
	// mdns_wkup = <1>;
};

// /* MAC_A 2.5G exphy setting */
// &ext_mdio_a {
//	status = "okay";
// };

// &external_phy_a {
//	compatible = "ethernet-phy-ieee802.3-c45";
//	max-speed = <2500>;
// };

// &serdes0 {
//	status = "okay";
// };

// &ethmac_a {
//	pinctrl-0 = <&eth_a_mdio_pins>;
//	pinctrl-names = "default";
//	status = "okay";
//	phys = <&serdes0>;
//	phy-names = "serdes";
//	phy-mode = "2500base-x";
//	phy-handle = <&external_phy_a>;
//	// wol = <1>;
//	// mdns_wkup = <1>;
// };

/* MAC_B 1G exphy setting */
&ext_mdio_b {
	status = "disabled";
};

&ethmac_b {
	pinctrl-0 = <&eth_b_pins>, <&eth_b_rgmii_pins>;
	pinctrl-names = "default";
	status = "disabled";
	phy-mode = "rgmii";
	phy-handle = <&external_phy_b>;
	phy-mii-clk-sel = <0x3>;
	amlogic,tx-delay-ns = <2>;
	cali_val = <0x290000>;
	// wol = <1>;
	// mdns_wkup = <1>;
};

&ir {
	status = "okay";
	pinctrl-0 = <&remote_pins>;
	pinctrl-names = "default";
};

&spisg_c {
	status = "disabled";
	pinctrl-names = "default";
	pinctrl-0 = <&spisg_c_pins_a>;
};

&spisg_e {
	status = "disabled";
	pinctrl-names = "default";
	pinctrl-0 = <&spisg_e_pins_z>;
};

&spisg_f {
	status = "disabled";
	pinctrl-names = "default";
	pinctrl-0 = <&spisg_f_pins_z>;
};

&spifc {
	status = "disabled";
	spi-nor@0 {
		status = "disabled";
	};
};

&fb {
	status = "disabled";
	display_size_default = <1920 1080 1920 2160 32>;
	mem_size = <0x00800000 0x1980000 0x100000 0x100000>;
	logo_addr = "0x7f800000";
	mem_alloc = <0>;
	pxp_mode = <0>; /** 0:normal mode 1:pxp mode */
};

&amvideom {
	display_device_cnt = <2>;
	vpp0_layer_count = <2>;
	/* number of video layer display on vpp1 */
	vpp1_layer_count = <1>;
};

&drm_vpu {
	status = "okay";
	logo_addr = "0x7f800000";

	connectors_dev: port@1 {
		drm_to_lcd0: endpoint@1 {
			reg = <1>;
			remote-endpoint = <&lcd0_to_drm>;
		};
		drm_to_lcd1: endpoint@2 {
			reg = <2>;
			remote-endpoint = <&lcd1_to_drm>;
		};
		drm_to_edptx0: endpoint@3 {
			reg = <3>;
			remote-endpoint = <&edptx0_to_drm>;
		};
	};
};

&drm_subsystem {
	status = "okay";
	fbdev_sizes = <1280 720 1280 1440 32>;
};

&amhdmitx {
	status = "okay";
};

&eDPTX0 {
	status = "okay";
	ports {
		port {
			#address-cells = <1>;
			#size-cells = <0>;
			edptx0_to_drm: endpoint@0 {
				reg = <0>;
				remote-endpoint = <&drm_to_edptx0>;
			};
		};
	};
};

&lcd {
	status = "okay";
	ports {
		port {
			#address-cells = <1>;
			#size-cells = <0>;
			lcd0_to_drm: endpoint@0 {
				reg = <0>;
				remote-endpoint = <&drm_to_lcd0>;
			};
		};
	};
};

&lcd1 {
	status = "okay";
	ports {
		port {
			lcd1_to_drm: endpoint@0 {
				reg = <0>;
				remote-endpoint = <&drm_to_lcd1>;
			};
		};
	};
};

//&dptx {
//	status = "okay";
//	pxp_mode = <1>;
//};

//&edptx {
//	status = "okay";
//	pxp_mode = <1>;
//};

//&drm_amhdmitx {
//	status = "disabled";
//	hdcp = "disabled";
//};

//&drm_amcvbsout {
//	status = "disabled";
//};

&hdmirx {
	status = "okay";
	pinctrl-0 = <&hdmirx_a_mux>;
	en_4k_2_2k = <0>;
	hpd_low_cec_off = <1>;
	arc_port = <0>;
	/* bit4: enable feature, bit3~0: port number */
	disable_port = <0x0>;
};
/*if you want to use vdin just modify status to "ok"*/
&vdin0 {
	/*compatible = "amlogic, vdin-s6";*/
	/*memory-region = <&vdin0_cma_reserved>;*/
	/*status = "disabled";*/
	/* up to 1920x1080 yuv422 8bit and 5 buffers
	 * 1920x1080x2x5 = 20 M
	 */
	cma_size = <20>;
	/*vdin write mem color depth support:
	 *bit0:support 8bit
	 *bit1:support 9bit
	 *bit2:support 10bit
	 *bit3:support 12bit
	 *bit4:support yuv422 10bit full pack mode (from txl new add)
	 */
	tv_bit_mode = <0x1>;
};

&vdin1 {
	/*compatible = "amlogic, vdin-s6";*/
	memory-region = <&vdin1_cma_reserved>;
	frame_buff_num = <4>;
	/*status = "disabled";*/
	/*vdin write mem color depth support:
	 *bit0:support 8bit
	 *bit1:support 9bit
	 *bit2:support 10bit
	 *bit3:support 12bit
	 */
	tv_bit_mode = <1>;
};

&amlvideo2_1 {
	memory-region = <&amlvideo2_1_cma_reserved>;
	cma_mode = <0>;
};

&aml_wifi{
	status = "disabled";
	interrupt-gpios = <&gpio  GPIOX_7  GPIO_ACTIVE_HIGH>;
	power_on-gpios = <&gpio   GPIOX_6  GPIO_ACTIVE_HIGH>;
};

&aml_bt {
	status = "disabled";
	reset-gpios = <&gpio    GPIOX_17 GPIO_ACTIVE_HIGH>;
	// TODO: must check! // btwakeup-gpios = <&gpio    GPIOX_18 GPIO_ACTIVE_HIGH>;
	// TODO: must check! // hostwake-gpios = <&gpio GPIOX_19 GPIO_ACTIVE_HIGH>;
};

&pwm_e {
	pinctrl-0 = <&pwm_e_pins1>;
	pinctrl-names = "default";
	status = "okay";
};

&uart_A {
	status = "okay";
	uart-has-rtscts;
};

//&amlogic_codec {
//	tocodec_inout = <1>;
//	tdmout_index = <1>;
//};

//&pdma {
//		pinctrl-names = "pdm_pins";
//		pinctrl-0 = <&pdmin>;
//};

&amlvecm {
	compatible = "amlogic, vecm-a9";
	dev_name = "aml_vecm";
	status = "okay";
	gamma_en = <1>;/*1:enable ;0:disable*/
	wb_en = <1>;/*1:enable ;0:disable*/
	cm_en = <1>;/*1:enable ;0:disable*/
	wb_sel = <0>;/*1:mtx ;0:gainoff*/
	osd_pic_en = <1>;
	/*0: 709/601  1: bt2020*/
	tx_op_color_primary = <0>;
};
